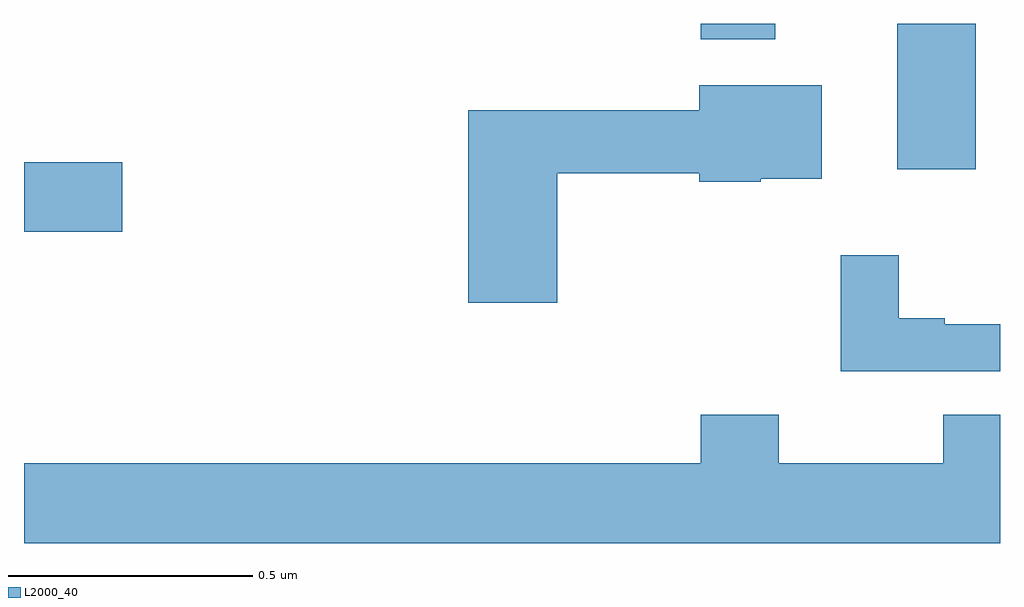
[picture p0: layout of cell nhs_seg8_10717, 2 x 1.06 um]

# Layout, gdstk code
import gdstk
lib = gdstk.Library(unit=1e-6, precision=1e-09)
def R(c, l, rs):  # rectangles x0, y0, x1, y1
    for r in rs: c.add(gdstk.rectangle(r[:2], r[2:], *l))
def P(c, l, *ps):  # polygons
    for p in ps: c.add(gdstk.Polygon(p, *l))
L2000_40 = (2000, 40)

nhs_seg8_10717 = lib.new_cell('nhs_seg8_10717')
R(nhs_seg8_10717, L2000_40, [(253,1114.474,253.201,1114.616), (254.789,1114.602,254.95,1114.9), (254.387,1114.869,254.539,1114.9)])
P(nhs_seg8_10717, L2000_40, [(254.093,1114.594),(254.384,1114.594),(254.384,1114.576),(254.51,1114.576),(254.51,1114.583),(254.635,1114.583),(254.635,1114.774),(254.384,1114.774),(254.384,1114.723),(253.91,1114.723),(253.91,1114.329),(254.093,1114.329)],
  [(255,1114.284),(254.887,1114.284),(254.887,1114.297),(254.793,1114.297),(254.793,1114.426),(254.674,1114.426),(254.674,1114.188),(255,1114.188)],
  [(255,1114.099),(254.884,1114.099),(254.884,1114),(254.547,1114),(254.547,1114.099),(254.387,1114.099),(254.387,1114),(253,1114),(253,1113.836),(255,1113.836)])

lib.write_gds('nhs_seg8_10717.gds')
